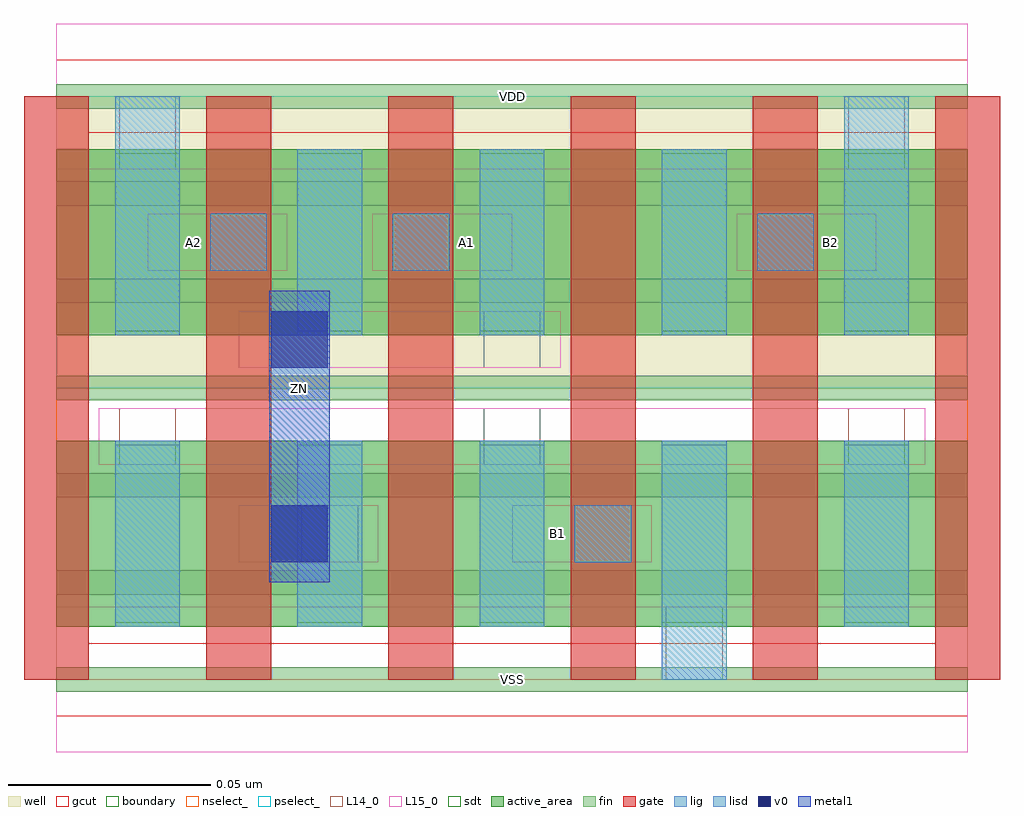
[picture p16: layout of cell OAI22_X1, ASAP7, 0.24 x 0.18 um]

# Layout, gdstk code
import gdstk
lib = gdstk.Library(unit=1e-6, precision=2.5e-10)
def R(c, l, rs):  # rectangles x0, y0, x1, y1
    for r in rs: c.add(gdstk.rectangle(r[:2], r[2:], *l))
def A(c, l, x, y, w, h, nx, ny, dx, dy):  # array of equal rectangles
    R(c, l, [(x+i*dx, y+j*dy, x+i*dx+w, y+j*dy+h) for i in range(nx) for j in range(ny)])
def P(c, l, *ps):  # polygons
    for p in ps: c.add(gdstk.Polygon(p, *l))
well = (1, 0)
fin = (2, 0)
gate = (7, 0)
gcut = (10, 0)
active_area = (11, 0)
nselect_ = (12, 0)
pselect_ = (13, 0)
L14_0 = (14, 0)
L15_0 = (15, 0)
lig = (16, 0)
lisd = (17, 0)
v0 = (18, 0)
metal1 = (19, 0)
sdt = (88, 0)
boundary = (100, 0)

oai22_x1 = lib.new_cell('OAI22_X1')
R(oai22_x1, well, [(0,0.072,0.225,0.144)])
A(oai22_x1, fin, 0, -0.003, 0.225, 0.006, 1, 7, 0, 0.024)
A(oai22_x1, gate, -0.008, 0, 0.016, 0.144, 6, 1, 0.045, 0)
P(oai22_x1, gcut, [(0,-0.009),(0,0),(-0.008,0),(-0.008,0.135),(0.008,0.135),(0.008,0.009),(0.217,0.009),(0.217,0.135),(-0.008,0.135),(-0.008,0.144),(0,0.144),(0,0.153),(0.225,0.153),(0.225,0.144),(0.233,0.144),(0.233,0),(0.225,0),(0.225,-0.009)])
R(oai22_x1, active_area, [(0,0.013,0.225,0.059), (0,0.085,0.225,0.131)])
R(oai22_x1, nselect_, [(0,0,0.225,0.072)])
R(oai22_x1, pselect_, [(0,0.072,0.225,0.144)])
A(oai22_x1, L14_0, 0.0155, 0.053, 0.014, 0.014, 3, 1, 0.09, 0)
R(oai22_x1, L14_0, [(0.1505,0,0.1645,0.018), (0.0605,0.029,0.0745,0.043), (0.128,0.029,0.142,0.043), (0.1055,0.077,0.1195,0.091), (0.038,0.101,0.052,0.115), (0.083,0.101,0.097,0.115), (0.173,0.101,0.187,0.115), (0.0155,0.126,0.0295,0.144), (0.1955,0.126,0.2095,0.144)])
R(oai22_x1, L15_0, [(0,-0.018,0.225,0.018), (0.045,0.029,0.0795,0.043), (0.1125,0.029,0.147,0.043), (0.0105,0.053,0.2145,0.067), (0.045,0.077,0.1245,0.091), (0.0225,0.101,0.057,0.115), (0.078,0.101,0.1125,0.115), (0.168,0.101,0.2025,0.115), (0,0.126,0.225,0.162)])
R(oai22_x1, lig, [(0.128,0.029,0.142,0.043), (0.038,0.101,0.052,0.115), (0.083,0.101,0.097,0.115), (0.173,0.101,0.187,0.115)])
A(oai22_x1, lisd, 0.0145, 0.013, 0.016, 0.046, 3, 1, 0.045, 0)
A(oai22_x1, lisd, 0.0595, 0.085, 0.016, 0.046, 3, 1, 0.045, 0)
R(oai22_x1, lisd, [(0.1495,0,0.1655,0.059), (0.1945,0.013,0.2105,0.059), (0.0145,0.085,0.0305,0.144), (0.1945,0.085,0.2105,0.144)])
R(oai22_x1, v0, [(0.053,0.029,0.067,0.043), (0.053,0.077,0.067,0.091)])
R(oai22_x1, metal1, [(0.0525,0.024,0.0675,0.096)])
A(oai22_x1, sdt, 0.0145, 0.014, 0.016, 0.044, 5, 2, 0.045, 0.072)
R(oai22_x1, boundary, [(0,0,0.225,0.144)])
oai22_x1.add(gdstk.Label('A1', (0.1013,0.108), layer=15, texttype=251))
oai22_x1.add(gdstk.Label('VSS', (0.1125,0), layer=15, texttype=251))
oai22_x1.add(gdstk.Label('VDD', (0.1125,0.144), layer=15, texttype=251))
oai22_x1.add(gdstk.Label('A2', (0.0338,0.108), layer=15, texttype=251))
oai22_x1.add(gdstk.Label('VSS', (0.1125,0), layer=15, texttype=251))
oai22_x1.add(gdstk.Label('VDD', (0.1125,0.144), layer=15, texttype=251))
oai22_x1.add(gdstk.Label('B1', (0.1238,0.036), layer=15, texttype=251))
oai22_x1.add(gdstk.Label('VSS', (0.1125,0), layer=15, texttype=251))
oai22_x1.add(gdstk.Label('VDD', (0.1125,0.144), layer=15, texttype=251))
oai22_x1.add(gdstk.Label('VSS', (0.1125,0), layer=15, texttype=251))
oai22_x1.add(gdstk.Label('VDD', (0.1125,0.144), layer=15, texttype=251))
oai22_x1.add(gdstk.Label('B2', (0.1913,0.108), layer=15, texttype=251))
oai22_x1.add(gdstk.Label('VSS', (0.1125,0), layer=15, texttype=251))
oai22_x1.add(gdstk.Label('VDD', (0.1125,0.144), layer=15, texttype=251))
oai22_x1.add(gdstk.Label('VSS', (0.1125,0), layer=3, texttype=251))
oai22_x1.add(gdstk.Label('VSS', (0.1125,0), layer=3, texttype=251))
oai22_x1.add(gdstk.Label('VSS', (0.1125,0), layer=3, texttype=251))
oai22_x1.add(gdstk.Label('VSS', (0.1125,0), layer=3, texttype=251))
oai22_x1.add(gdstk.Label('VSS', (0.1125,0), layer=3, texttype=251))
oai22_x1.add(gdstk.Label('VDD', (0.1125,0.144), layer=1, texttype=251))
oai22_x1.add(gdstk.Label('VDD', (0.1125,0.144), layer=1, texttype=251))
oai22_x1.add(gdstk.Label('VDD', (0.1125,0.144), layer=1, texttype=251))
oai22_x1.add(gdstk.Label('VDD', (0.1125,0.144), layer=1, texttype=251))
oai22_x1.add(gdstk.Label('VDD', (0.1125,0.144), layer=1, texttype=251))
oai22_x1.add(gdstk.Label('ZN', (0.06,0.072), layer=19, texttype=251))

lib.write_gds('OAI22_X1.gds')
